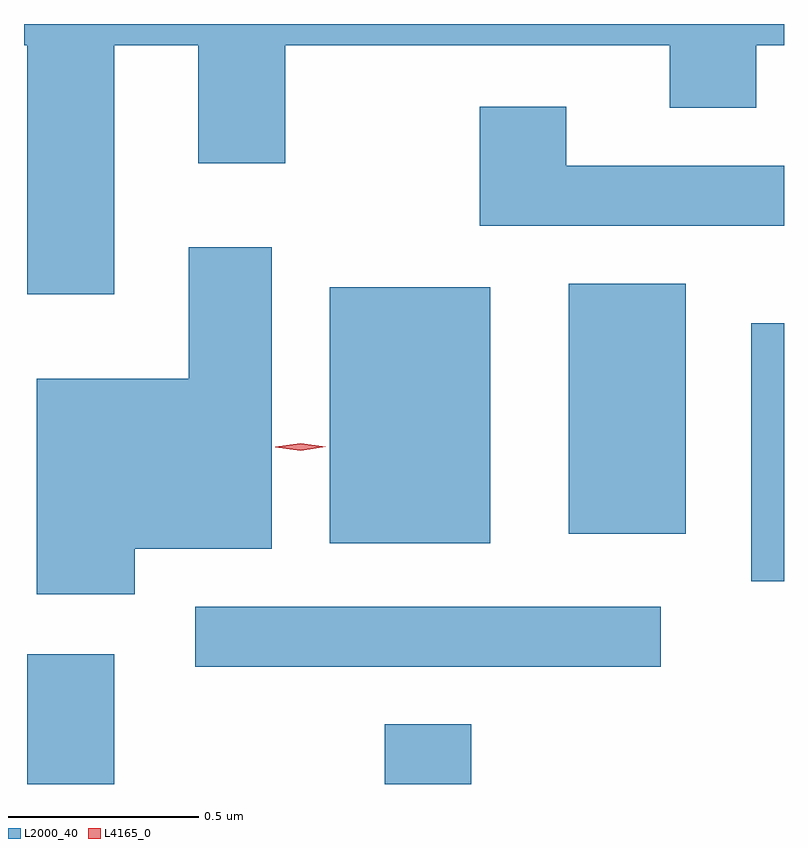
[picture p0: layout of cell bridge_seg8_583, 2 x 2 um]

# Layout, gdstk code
import gdstk
lib = gdstk.Library(unit=1e-6, precision=1e-09)
def R(c, l, rs):  # rectangles x0, y0, x1, y1
    for r in rs: c.add(gdstk.rectangle(r[:2], r[2:], *l))
def P(c, l, *ps):  # polygons
    for p in ps: c.add(gdstk.Polygon(p, *l))
L2000_40 = (2000, 40)
L4165_0 = (4165, 0)

bridge_seg8_583 = lib.new_cell('bridge_seg8_583')
R(bridge_seg8_583, L2000_40, [(565.261,1841.132,565.489,1841.474), (566.201,1841.132,566.429,1841.289), (565.703,1841.441,566.928,1841.599), (567.166,1841.666,567.252,1842.344), (566.056,1841.766,566.479,1842.439), (566.686,1841.791,566.994,1842.449)])
P(bridge_seg8_583, L2000_40, [(565.489,1843.076),(565.711,1843.076),(565.711,1842.766),(565.939,1842.766),(565.939,1843.076),(566.951,1843.076),(566.951,1842.911),(567.179,1842.911),(567.179,1843.076),(567.252,1843.076),(567.252,1843.132),(565.252,1843.132),(565.252,1843.076),(565.261,1843.076),(565.261,1842.421),(565.489,1842.421)],
  [(567.252,1842.759),(566.679,1842.759),(566.679,1842.914),(566.451,1842.914),(566.451,1842.601),(567.252,1842.601)],
  [(565.544,1841.751),(565.904,1841.751),(565.904,1842.544),(565.686,1842.544),(565.686,1842.199),(565.286,1842.199),(565.286,1841.631),(565.544,1841.631)])
P(bridge_seg8_583, L4165_0, [(565.98,1842.009),(565.913,1842.018),(565.913,1842.019),(565.913,1842.019),(565.98,1842.029),(566.046,1842.02),(566.046,1842.019),(566.046,1842.019)])

lib.write_gds('bridge_seg8_583.gds')
